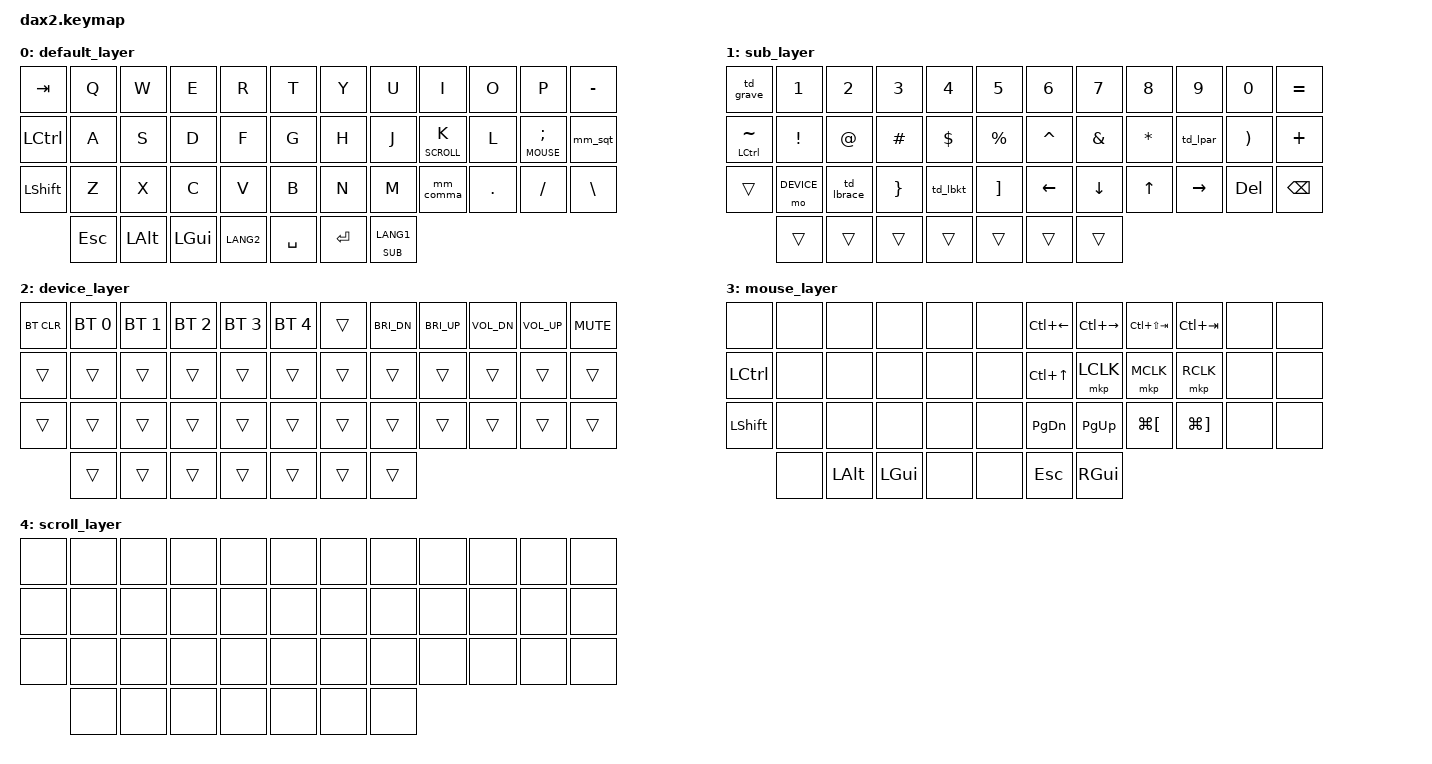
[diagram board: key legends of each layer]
#include <behaviors.dtsi>
#include <dt-bindings/zmk/keys.h>
#include <dt-bindings/zmk/bt.h>
#include <dt-bindings/zmk/pointing.h>

#define DEFAULT 0
#define SUB     1
#define DEVICE  2
#define MOUSE   3
#define SCROLL  4

&lt {
    flavor = "balanced";
    tapping-term-ms = <180>;
    quick-tap-ms = <0>;
};

/ {
    macros {
        macro_brackets: macro_brackets {
            compatible = "zmk,behavior-macro";
            #binding-cells = <0>;
            bindings = <&kp LBKT &kp RBKT &kp LEFT>;
        };
        /* Release shift before LEFT to avoid Shift+Left; use a mod-morph once zmk#683 is fixed. */
        macro_parens: macro_parens {
            compatible = "zmk,behavior-macro";
            #binding-cells = <0>;
            bindings = <&kp LPAR &kp RPAR &macro_release &kp LSHFT &kp RSHFT &macro_tap &kp LEFT>;
        };
        macro_braces: macro_braces {
            compatible = "zmk,behavior-macro";
            #binding-cells = <0>;
            bindings = <&kp LS(LBKT) &kp LS(RBKT) &macro_release &kp LSHFT &kp RSHFT &macro_tap &kp LEFT>;
        };
        macro_angles: macro_angles {
            compatible = "zmk,behavior-macro";
            #binding-cells = <0>;
            bindings = <&kp LS(COMMA) &kp LS(DOT) &macro_release &kp LSHFT &kp RSHFT &macro_tap &kp LEFT>;
        };
        macro_quotes: macro_quotes {
            compatible = "zmk,behavior-macro";
            #binding-cells = <0>;
            bindings = <&kp SQT &kp SQT &kp LEFT>;
        };
        macro_dquotes: macro_dquotes {
            compatible = "zmk,behavior-macro";
            #binding-cells = <0>;
            bindings = <&kp LS(SQT) &kp LS(SQT) &macro_release &kp LSHFT &kp RSHFT &macro_tap &kp LEFT>;
        };
        macro_graves: macro_graves {
            compatible = "zmk,behavior-macro";
            #binding-cells = <0>;
            bindings = <&kp GRAVE &kp GRAVE &kp LEFT>;
        };
        macro_codeblock: macro_codeblock {
            compatible = "zmk,behavior-macro";
            #binding-cells = <0>;
            bindings = <&kp GRAVE &kp GRAVE &kp GRAVE &kp GRAVE &kp GRAVE &kp GRAVE &kp LEFT &kp LEFT &kp LEFT>;
        };
    };

    behaviors {
        td_lbkt: td_lbkt {
            compatible = "zmk,behavior-tap-dance";
            #binding-cells = <0>;
            tapping-term-ms = <150>;
            bindings = <&kp LBKT>, <&macro_brackets>;
        };
        td_lpar: td_lpar {
            compatible = "zmk,behavior-tap-dance";
            #binding-cells = <0>;
            tapping-term-ms = <150>;
            bindings = <&kp LPAR>, <&macro_parens>;
        };
        td_angle: td_angle {
            compatible = "zmk,behavior-tap-dance";
            #binding-cells = <0>;
            tapping-term-ms = <150>;
            bindings = <&kp LS(COMMA)>, <&macro_angles>;
        };
        td_sqt: td_sqt {
            compatible = "zmk,behavior-tap-dance";
            #binding-cells = <0>;
            tapping-term-ms = <150>;
            bindings = <&kp SQT>, <&macro_quotes>;
        };
        td_dquote: td_dquote {
            compatible = "zmk,behavior-tap-dance";
            #binding-cells = <0>;
            tapping-term-ms = <150>;
            bindings = <&kp LS(SQT)>, <&macro_dquotes>;
        };
        td_grave: td_grave {
            compatible = "zmk,behavior-tap-dance";
            #binding-cells = <0>;
            tapping-term-ms = <150>;
            bindings = <&kp GRAVE>, <&macro_graves>, <&macro_codeblock>;
        };
        td_lbrace: td_lbrace {
            compatible = "zmk,behavior-tap-dance";
            #binding-cells = <0>;
            tapping-term-ms = <150>;
            bindings = <&kp LS(LBKT)>, <&macro_braces>;
        };
        mm_sqt: mm_sqt {
            compatible = "zmk,behavior-mod-morph";
            #binding-cells = <0>;
            bindings = <&td_sqt>, <&td_dquote>;
            mods = <(MOD_LSFT|MOD_RSFT)>;
        };
        mm_comma: mm_comma {
            compatible = "zmk,behavior-mod-morph";
            #binding-cells = <0>;
            bindings = <&kp COMMA>, <&td_angle>;
            mods = <(MOD_LSFT|MOD_RSFT)>;
        };
    };

    keymap {
        compatible = "zmk,keymap";

        default_layer {
// | TAB |  Q  |  W  |  E  |  R  |  T  |                 |  Y  |  U  |  I  |  O  |  P  |  -  |
// | CTL |  A  |  S  |  D  |  F  |  G  |                 |  H  |  J  |SC/K |  L  |MO/; |  '  |
// | SFT |  Z  |  X  |  C  |  V  |  B  |                 |  N  |  M  |  ,  |  .  |  /  |  \  |
//       | ESC | OPT | CMD | EN  | SPC |                 | RET |SU/JA|
            bindings = <
&kp TAB   &kp Q   &kp W    &kp E    &kp R     &kp T         &kp Y   &kp U         &kp I        &kp O   &kp P          &kp MINUS
&kp LCTRL &kp A   &kp S    &kp D    &kp F     &kp G         &kp H   &kp J         &lt SCROLL K &kp L   &lt MOUSE SEMI &mm_sqt
&kp LSHFT &kp Z   &kp X    &kp C    &kp V     &kp B         &kp N   &kp M         &mm_comma    &kp DOT &kp FSLH       &kp BSLH
          &kp ESC &kp LALT &kp LGUI &kp LANG2 &kp SPACE     &kp RET &lt SUB LANG1
            >;
        };

        sub_layer {
// |  `  |  1  |  2  |  3  |  4  |  5  |                 |  6  |  7  |  8  |  9  |  0  |  =  |
// |CT/~ |  !  |  @  |  #  |  $  |  %  |                 |  ^  |  &  |  *  |  (  |  )  |  +  |
// |     | DEV |  {  |  }  |  [  |  ]  |                 |  ←  |  ↓  |  ↑  |  →  | DEL | BS  |
//       |     |     |     |     |     |                 |     |     |
            bindings = <
&td_grave       &kp N1     &kp N2     &kp N3   &kp N4   &kp N5        &kp N6    &kp N7   &kp N8    &kp N9    &kp N0   &kp EQUAL
&mt LCTRL TILDE &kp EXCL   &kp AT     &kp HASH &kp DLLR &kp PRCNT     &kp CARET &kp AMPS &kp ASTRK &td_lpar  &kp RPAR &kp PLUS
&trans          &mo DEVICE &td_lbrace &kp RBRC &td_lbkt &kp RBKT      &kp LEFT  &kp DOWN &kp UP    &kp RIGHT &kp DEL  &kp BKSP
                &trans     &trans     &trans   &trans   &trans        &trans    &trans
            >;
        };

        device_layer {
// |BTCLR| BT0 | BT1 | BT2 | BT3 | BT4 |                 |     |BRI- |BRI+ |VOL- |VOL+ |MUTE |
// |     |     |     |     |     |     |                 |     |     |     |     |     |     |
// |     |     |     |     |     |     |                 |     |     |     |     |     |     |
//       |     |     |     |     |     |                 |     |     |
            bindings = <
&bt BT_CLR &bt BT_SEL 0 &bt BT_SEL 1 &bt BT_SEL 2 &bt BT_SEL 3 &bt BT_SEL 4     &trans &kp C_BRI_DN &kp C_BRI_UP &kp C_VOL_DN &kp C_VOL_UP &kp C_MUTE
&trans     &trans       &trans       &trans       &trans       &trans           &trans &trans       &trans       &trans       &trans       &trans
&trans     &trans       &trans       &trans       &trans       &trans           &trans &trans       &trans       &trans       &trans       &trans
           &trans       &trans       &trans       &trans       &trans           &trans &trans
            >;
        };

        mouse_layer {
// |XXXXX|XXXXX|XXXXX|XXXXX|XXXXX|XXXXX|                 | D<  | D>  | T<  | T>  |XXXXX|XXXXX|
// | CTL |XXXXX|XXXXX|XXXXX|XXXXX|XXXXX|                 | MC  |LCLK |MCLK |RCLK |XXXXX|XXXXX|
// | SFT |XXXXX|XXXXX|XXXXX|XXXXX|XXXXX|                 |PGDN |PGUP |BACK | FWD |XXXXX|XXXXX|
//       |XXXXX| OPT | CMD |XXXXX|XXXXX|                 | ESC |RGUI |
            bindings = <
&none     &none &none    &none    &none &none     &kp LC(LEFT) &kp LC(RIGHT) &kp LC(LS(TAB)) &kp LC(TAB)  &none &none
&kp LCTRL &none &none    &none    &none &none     &kp LC(UP)   &mkp LCLK     &mkp MCLK       &mkp RCLK    &none &none
&kp LSHFT &none &none    &none    &none &none     &kp PG_DN    &kp PG_UP     &kp LG(LBKT)    &kp LG(RBKT) &none &none
          &none &kp LALT &kp LGUI &none &none     &kp ESC      &kp RGUI
            >;
        };

        scroll_layer {
// |XXXXX|XXXXX|XXXXX|XXXXX|XXXXX|XXXXX|                 |XXXXX|XXXXX|XXXXX|XXXXX|XXXXX|XXXXX|
// |XXXXX|XXXXX|XXXXX|XXXXX|XXXXX|XXXXX|                 |XXXXX|XXXXX|XXXXX|XXXXX|XXXXX|XXXXX|
// |XXXXX|XXXXX|XXXXX|XXXXX|XXXXX|XXXXX|                 |XXXXX|XXXXX|XXXXX|XXXXX|XXXXX|XXXXX|
//       |XXXXX|XXXXX|XXXXX|XXXXX|XXXXX|                 |XXXXX|XXXXX|
            bindings = <
&none &none &none &none &none &none     &none &none &none &none &none &none
&none &none &none &none &none &none     &none &none &none &none &none &none
&none &none &none &none &none &none     &none &none &none &none &none &none
      &none &none &none &none &none     &none &none
            >;
        };
    };
};
